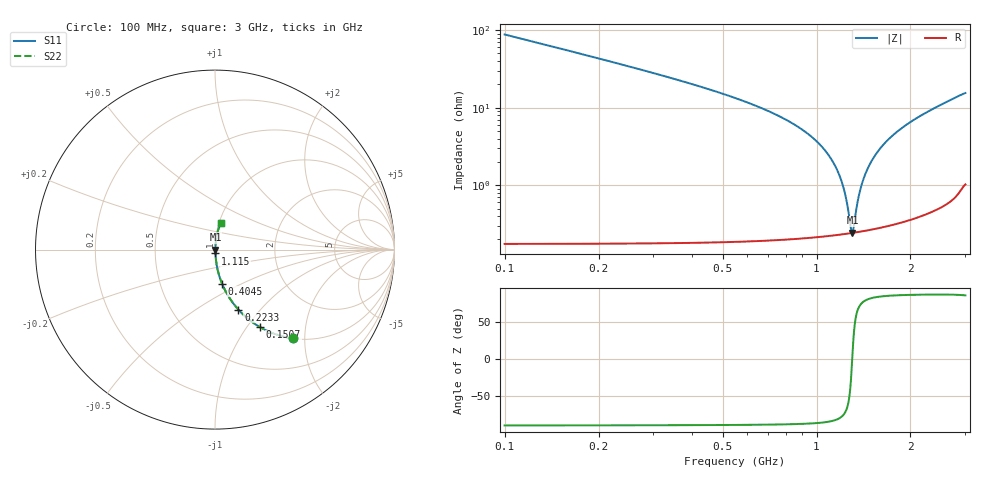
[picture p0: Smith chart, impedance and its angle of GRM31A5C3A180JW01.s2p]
!Murata Part Number: GRM31A5C3A180JW01
!These Parameters are Measured in Series Mode Connection
!Data Generated on Mar 30, 2021
!  o--ll--o
!Port1  Port2
!  o------o
!Operation Temp=25[degC], DC Bias Voltage=0[V]
!Freq. Start=100[MHz] Stop=3[GHz] 401[Steps]
# Hz S RI R 50
!Freq.(Hz) S11(Real) S11(Imag) S21(Real) S21(Imag) S12(Real) S12(Imag) S22(Real) S22(Imag)
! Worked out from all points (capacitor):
!   401 points, 100 MHz to 3 GHz, reference 50 ohm
!   read as one part in series: C = 18 pF near 114.5 MHz
!   lowest |Z| = 244 mohm at 1.304 GHz (marker M1)
!   series resonance near 1.301 GHz, so ESL is about 830 pH
!   S11 on the Smith chart (normalised r, x): 100 MHz: 1.00, -1.76; 150.8 MHz: 1.00, -1.16; 223.2 MHz: 1.00, -0.77; 404.5 MHz: 1.00, -0.40; 1.115 GHz: 1.00, -0.04; 3 GHz: 1.02, +0.31
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1e8  0.4361 -0.4949  0.5639 0.4949  0.5639 0.4949  0.4361 -0.4949
1.5075e8  0.2517 -0.4325  0.7483 0.4325  0.7483 0.4325  0.2517 -0.4325
2.2325e8  0.1301 -0.3341  0.8699 0.3341  0.8699 0.3341  0.1301 -0.3341
4.045e8  0.0394 -0.1899  0.9606 0.1899  0.9606 0.1899  0.0394 -0.1899
5.8575e8  0.0163 -0.1189  0.9837 0.1189  0.9837 0.1189  0.0163 -0.1189
8.9025e8  0.0049 -0.0533  0.9951 0.0533  0.9951 0.0533  0.0049 -0.0533
1.0715e9  0.00292 -0.027  0.9971 0.027  0.9971 0.027  0.00292 -0.027
1.115e9  0.00269 -0.0215  0.9973 0.0215  0.9973 0.0215  0.00269 -0.0215
1.16575e9  0.00251 -0.0153  0.9975 0.0153  0.9975 0.0153  0.00251 -0.0153
1.20925e9  0.00243 -0.0102  0.9976 0.0102  0.9976 0.0102  0.00243 -0.0102
1.2455e9  0.0024 -0.00609  0.9976 0.00609  0.9976 0.00609  0.0024 -0.00609
1.289e9  0.00241 -0.00131  0.9976 0.00131  0.9976 0.00131  0.00241 -0.00131
1.3035e9  0.00242 0.000252  0.9976 -0.000252  0.9976 -0.000252  0.00242 0.000252
1.318e9  0.00244 0.0018  0.9976 -0.0018  0.9976 -0.0018  0.00244 0.0018
1.3615e9  0.00253 0.00636  0.9975 -0.00636  0.9975 -0.00636  0.00253 0.00636
1.405e9  0.00266 0.0108  0.9973 -0.0108  0.9973 -0.0108  0.00266 0.0108
1.47025e9  0.00293 0.0173  0.9971 -0.0173  0.9971 -0.0173  0.00293 0.0173
1.55e9  0.00336 0.0249  0.9966 -0.0249  0.9966 -0.0249  0.00336 0.0249
1.74575e9  0.00489 0.0427  0.9951 -0.0427  0.9951 -0.0427  0.00489 0.0427
2.03575e9  0.00825 0.0675  0.9918 -0.0675  0.9918 -0.0675  0.00825 0.0675
2.5215e9  0.0171 0.108  0.9829 -0.108  0.9829 -0.108  0.0171 0.108
3e9  0.0327 0.1477  0.9673 -0.1477  0.9673 -0.1477  0.0327 0.1477
